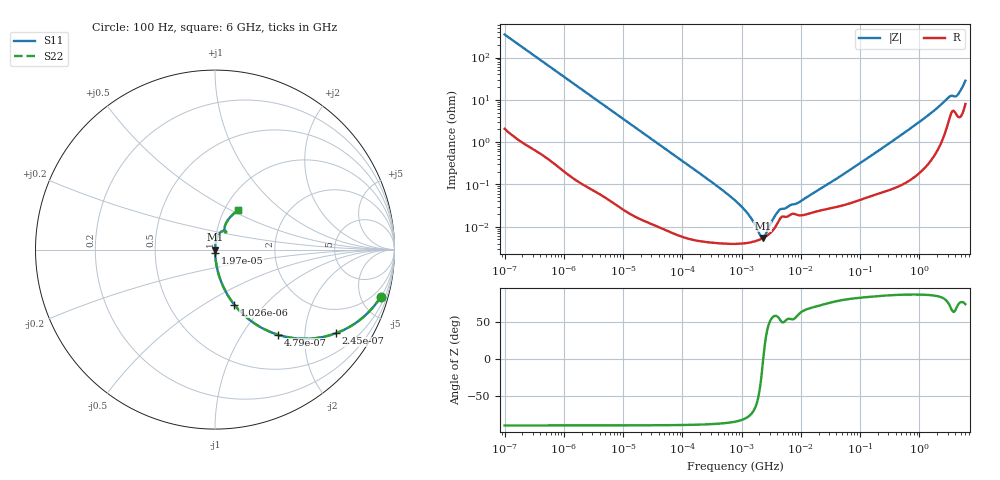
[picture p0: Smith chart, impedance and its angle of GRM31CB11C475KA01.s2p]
!Murata Part Number: GRM31CB11C475KA01
!These Parameters are Measured in Series Mode Connection
!Data Generated on Mar 30, 2021
!  o--ll--o
!Port1  Port2
!  o------o
!Operation Temp=25[degC], DC Bias Voltage=0[V]
!Freq. Start=100[Hz] Stop=6[GHz] 401[Steps]
# Hz S RI R 50
!Freq.(Hz) S11(Real) S11(Imag) S21(Real) S21(Imag) S12(Real) S12(Imag) S22(Real) S22(Imag)
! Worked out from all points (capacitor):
!   401 points, 100 Hz to 6 GHz, reference 50 ohm
!   read as one part in series: C = 4.53 uF near 109 Hz
!   lowest |Z| = 5.38 mohm at 2.269 MHz (marker M1)
!   series resonance near 2.322 MHz, so ESL is about 1 nH
!   S11 on the Smith chart (normalised r, x): 100 Hz: 1.04, -7.01; 245 Hz: 1.02, -2.87; 479 Hz: 1.01, -1.47; 1.026 kHz: 1.00, -0.69; 19.7 kHz: 1.00, -0.04; 6 GHz: 1.16, +0.54
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100  0.9235 -0.2629  0.0765 0.2629  0.0765 0.2629  0.9235 -0.2629
150  0.8449 -0.3592  0.1551 0.3592  0.1551 0.3592  0.8449 -0.3592
245  0.6725 -0.4665  0.3275 0.4665  0.3275 0.4665  0.6725 -0.4665
479  0.3519 -0.4745  0.6481 0.4745  0.6481 0.4745  0.3519 -0.4745
1026  0.1075 -0.3069  0.8925 0.3069  0.8925 0.3069  0.1075 -0.3069
2008  0.0311 -0.1707  0.9689 0.1707  0.9689 0.1707  0.0311 -0.1707
5143  0.00523 -0.0688  0.9948 0.0688  0.9948 0.0688  0.00523 -0.0688
19704  0.000478 -0.0181  0.9995 0.0181  0.9995 0.0181  0.000478 -0.0181
40335  0.000176 -0.00888  0.9998 0.00888  0.9998 0.00888  0.000176 -0.00888
774597  3.93e-05 -0.000417  1 0.000417  1 0.000417  3.93e-05 -0.000417
1212075  4.1e-05 -0.000218  1 0.000218  1 0.000218  4.1e-05 -0.000218
1734173  4.58e-05 -9.31e-05  1 9.31e-05  1 9.31e-05  4.58e-05 -9.31e-05
2268635  5.33e-05 -7.2e-06  0.9999 7.2e-06  0.9999 7.2e-06  5.33e-05 -7.2e-06
2967816  6.86e-05 7.95e-05  0.9999 -7.95e-05  0.9999 -7.95e-05  6.86e-05 7.95e-05
4440638  0.000153 0.000203  0.9998 -0.000203  0.9998 -0.000203  0.000153 0.000203
9090158  0.000187 0.000318  0.9998 -0.000318  0.9998 -0.000318  0.000187 0.000318
1.555665e7  0.000215 0.000559  0.9998 -0.000559  0.9998 -0.000559  0.000215 0.000559
3.124326e8  0.000821 0.00936  0.9992 -0.00936  0.9992 -0.00936  0.000821 0.00936
1.309207e9  0.00422 0.0394  0.9958 -0.0394  0.9958 -0.0394  0.00422 0.0394
3.065283e9  0.038 0.1013  0.962 -0.1013  0.962 -0.1013  0.038 0.1013
4.385646e9  0.0526 0.1104  0.9474 -0.1104  0.9474 -0.1104  0.0526 0.1104
6e9  0.1287 0.2187  0.8713 -0.2187  0.8713 -0.2187  0.1287 0.2187
